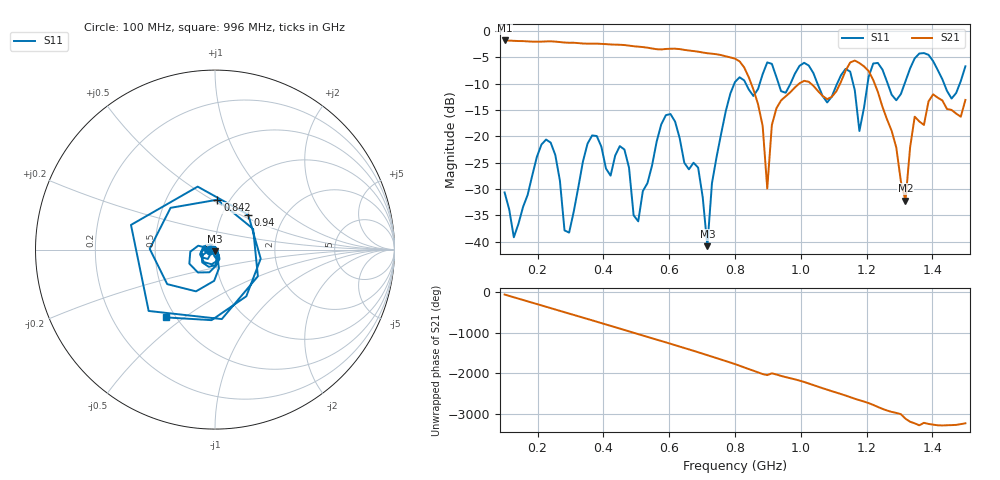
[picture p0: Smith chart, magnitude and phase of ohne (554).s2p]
! NanoVNA-App
! Date: 2025-09-25 14:25:07
! Start: 100MHz Stop: 1,5GHz Points: 101
! S-Parameter data: F S11 S21 S12 S22
# Hz S RI R 50
!  Frequency  S11_Real  S11_Imag  S21_Real  S21_Imag  S12_Real  S12_Imag  S22_Real  S22_Imag
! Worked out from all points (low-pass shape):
!   101 points, 100 MHz to 1.5 GHz, reference 50 ohm
!   highest |S21| = -1.79 dB at 100 MHz (marker M1); lowest = -32.2 dB at 1.318 GHz (marker M2)
!   |S21| within 3 dB of the highest: start of sweep to 771.3 MHz
!   lowest |S11| = -40.8 dB at 716 MHz (marker M3), VSWR 1.02, Z = 49.9 - j0.898 ohm
!   |S11| at or under -10 dB: start of sweep to 797.9 MHz; 833 MHz to 875 MHz (42.02 MHz wide, 4.92 % of centre); 1.051 GHz to 1.11 GHz (59.6 MHz wide, 5.52 % of centre)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
!   S12 and S22 are empty: the file has one direction only
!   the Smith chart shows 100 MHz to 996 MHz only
!   S11 on the Smith chart (normalised r, x): 100 MHz: 0.94, -0.01; 842 MHz: 0.88, +0.53; 940 MHz: 1.32, +0.55; 996 MHz: 0.44, -0.43
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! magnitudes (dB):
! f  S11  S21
! 100 MHz  -30.6  -1.8
! 128 MHz  -39.1  -1.9
! 226 MHz  -20.6  -2.0
! 296 MHz  -38.3  -2.2
! 338 MHz  -24.8  -2.4
! 464 MHz  -22.5  -2.7
! 506 MHz  -36.1  -3.0
! 576 MHz  -17.7  -3.5
! 688 MHz  -25.9  -3.9
! 716 MHz  -40.8  -4.2
! 800 MHz  -9.7  -5.2
! 842 MHz  -11.1  -8.8
! 898 MHz  -6.0  -29.9
! 940 MHz  -11.4  -13.2
! 996 MHz  -6.6  -9.9
! 1.038 GHz  -8.0  -10.4
! 1.178 GHz  -19.0  -6.1
! 1.22 GHz  -6.2  -9.3
! 1.276 GHz  -12.1  -19.0
! 1.318 GHz  -9.5  -32.2
! 1.346 GHz  -5.2  -16.3
! 1.5 GHz  -6.7  -13.1
